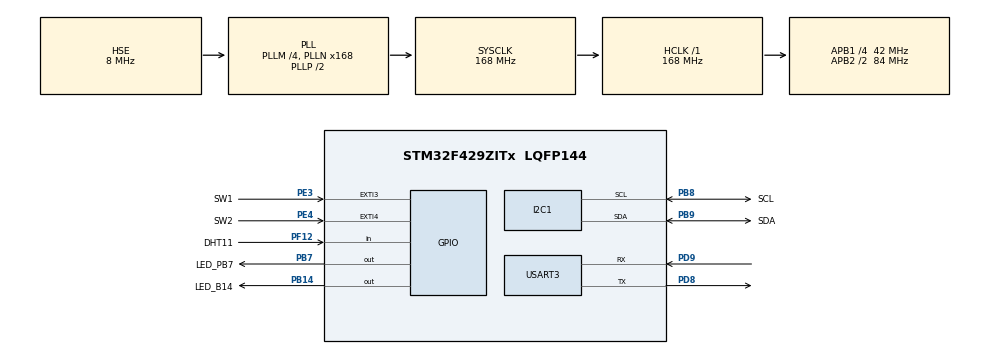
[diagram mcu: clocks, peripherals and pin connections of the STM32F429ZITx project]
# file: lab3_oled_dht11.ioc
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FREERTOS.Tasks01=defaultTask,24,128,StartDefaultTask,Default,NULL,Dynamic,NULL,NULL
I2C1.I2C_Mode=I2C_Fast
Mcu.Family=STM32F4
Mcu.Name=STM32F429ZITx
Mcu.Package=LQFP144
NVIC.EXTI3_IRQn=true\:5\:0\:false\:false\:true\:true\:true\:true\:true
NVIC.EXTI4_IRQn=true\:5\:0\:false\:false\:true\:true\:true\:true\:true
NVIC.PriorityGroup=NVIC_PRIORITYGROUP_4
NVIC.TIM1_UP_TIM10_IRQn=true\:15\:0\:false\:false\:true\:false\:false\:true\:true
NVIC.TimeBase=TIM1_UP_TIM10_IRQn
NVIC.TimeBaseIP=TIM1
PA13.Mode=Serial_Wire
PA13.Signal=SYS_JTMS-SWDIO
PA14.Mode=Serial_Wire
PA14.Signal=SYS_JTCK-SWCLK
PB14.GPIO_Label=LED_B14
PB14.Signal=GPIO_Output
PB7.GPIO_Label=LED_PB7
PB7.Signal=GPIO_Output
PB8.GPIO_Label=SCL
PB8.Mode=I2C
PB8.Signal=I2C1_SCL
PB9.GPIO_Label=SDA
PB9.Mode=I2C
PB9.Signal=I2C1_SDA
PD8.Mode=Asynchronous
PD8.Signal=USART3_TX
PD9.Mode=Asynchronous
PD9.Signal=USART3_RX
PE3.GPIO_Label=SW1
PE3.Signal=GPXTI3
PE4.GPIO_Label=SW2
PE4.Signal=GPXTI4
PF12.GPIO_Label=DHT11
PF12.Signal=GPIO_Input
PH0/OSC_IN.Mode=HSE-External-Oscillator
PH0/OSC_IN.Signal=RCC_OSC_IN
PH1/OSC_OUT.Mode=HSE-External-Oscillator
PH1/OSC_OUT.Signal=RCC_OSC_OUT
ProjectManager.HeapSize=0x200
ProjectManager.StackSize=0x400
ProjectManager.TargetToolchain=MDK-ARM V5.32
RCC.48MHZClocksFreq_Value=48000000
RCC.AHBFreq_Value=168000000
RCC.APB1CLKDivider=RCC_HCLK_DIV4
RCC.APB1Freq_Value=42000000
RCC.APB1TimFreq_Value=84000000
RCC.APB2CLKDivider=RCC_HCLK_DIV2
RCC.APB2Freq_Value=84000000
RCC.APB2TimCLKDivider=2
RCC.APB2TimFreq_Value=168000000
RCC.CortexFreq_Value=168000000
RCC.HCLKFreq_Value=168000000
RCC.HSE_VALUE=8000000
RCC.HSI_VALUE=16000000
RCC.LSE_VALUE=32768
RCC.PLLM=4
RCC.PLLMUL=RCC_PLL_MUL9
RCC.PLLN=168
RCC.PLLQ=7
RCC.PLLSourceVirtual=RCC_PLLSOURCE_HSE
RCC.PRESCALERUSB=RCC_USBCLKSOURCE_PLL_DIV1_5
RCC.SYSCLKFreq_VALUE=168000000
RCC.SYSCLKSource=RCC_SYSCLKSOURCE_PLLCLK
RCC.SYSCLKSourceVirtual=RCC_SYSCLKSOURCE_PLLCLK
RCC.USBFreq_Value=48000000
RCC.VCOOutputFreq_Value=336000000
TIM2.Prescaler=83
USART3.VirtualMode=VM_ASYNC
VP_FREERTOS_VS_CMSIS_V2.Mode=CMSIS_V2
VP_SYS_VS_tim1.Mode=TIM1
VP_TIM2_VS_ClockSourceINT.Mode=Internal
board=NUCLEO-F429ZI

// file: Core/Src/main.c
/* USER CODE BEGIN Header */
/**
  ******************************************************************************
  * @file           : main.c
  * @brief          : Main program body
  ******************************************************************************
  * @attention
  *
  * Copyright (c) 2024 STMicroelectronics.
  * All rights reserved.
  *
  * This software is licensed under terms that can be found in the LICENSE file
  * in the root directory of this software component.
  * If no LICENSE file comes with this software, it is provided AS-IS.
  *
  ******************************************************************************
  */
/* USER CODE END Header */
#include "main.h"
#include "i2c.h"
#include "tim.h"
#include "usart.h"
#include "gpio.h"

/* USER CODE BEGIN Includes */
#include "FreeRTOS.h"
#include "queue.h"
#include "task.h"
#include "oled.h"
#include "u8g2.h"
#include "dht11.h"
#include "stdio.h"
/* USER CODE END Includes */

/* USER CODE BEGIN PV */
QueueHandle_t queueDHT11;
QueueHandle_t queueSwitch;

TaskHandle_t handleDHT11;
TaskHandle_t handleOLED;

u8g2_t u8g2;

struct dht11{
	float Temp;
	float Humi;
};

struct dht11 dht11DATA;
/* USER CODE END PV */

void SystemClock_Config(void);

/* USER CODE BEGIN 0 */
/**********************
receive data from queue
success -> pdPASS(1) -> update OLED
fail -> pdFAIL(0) -> taskYIELD();
**********************/
void taskOLED(void *pvParm){
	u8g2Init(&u8g2);
	u8g2_ClearBuffer(&u8g2);
	u8g2_ClearDisplay(&u8g2);
	u8g2_SetFont(&u8g2, u8g2_font_samim_16_t_all);
	uint8_t displayMode = 9;
	uint8_t stuID[9] = "B10913154";
	char displayTemp[20];
	char displayHumi[20];
	char str[10];
	int progress = 0 ;

	while(1){
		xQueueReceive(queueSwitch, &displayMode, NULL);

		BaseType_t dht11Receive = xQueueReceive(queueDHT11, &dht11DATA, NULL);
		switch(displayMode){
			case 0:{
				u8g2_ClearBuffer(&u8g2);
				u8g2_DrawBox(&u8g2, 110, 18, 12, 12);
				for(int i= 0;i<10;i++)
				{

				snprintf(str, i, "%s", stuID);
				}
				u8g2_DrawStr(&u8g2, 18, 30, str);
				u8g2_DrawLine(&u8g2, 18, 35, 103, 35);
				u8g2_DrawBox(&u8g2, 110, 18, 12, 12);
				u8g2_SendBuffer(&u8g2);
				break;
			}
			case 1 :{

				if(dht11Receive == pdPASS){
					snprintf(displayTemp, sizeof(displayTemp), "Temp: %.1f C", dht11DATA.Temp);
					snprintf(displayHumi, sizeof(displayHumi), "Humi: %.1f %%", dht11DATA.Humi);
					u8g2_ClearBuffer(&u8g2);
					u8g2_DrawStr(&u8g2, 0, 20, displayTemp);
					u8g2_DrawStr(&u8g2, 0, 40, displayHumi);
					u8g2_SendBuffer(&u8g2);
					if(dht11DATA.Humi>=60){
						HAL_GPIO_WritePin(LED_PB7_GPIO_Port, LED_PB7_Pin, 1);
					}
					else{
						HAL_GPIO_WritePin(LED_PB7_GPIO_Port, LED_PB7_Pin, 0);
					}
				}else{
					taskYIELD();
				}
				break;
			}
			default:{
				u8g2_ClearBuffer(&u8g2);
//				u8g2_DrawStr(&u8g2, 40, 28, "finish");
//				u8g2_DrawBox(&u8g2,0, 30 ,128, 15);
				if(progress < 128){
				progress = progress +4;
				u8g2_DrawStr(&u8g2, 30, 20, "loadig...");
				u8g2_DrawBox(&u8g2,0, 30 ,128, 15);
				}
				else{
				u8g2_DrawStr(&u8g2, 40, 28, "finish");
				u8g2_DrawBox(&u8g2,0, 30 ,128, 15);
				}
				u8g2_SendBuffer(&u8g2);
				break;
			}
		}
		vTaskDelay(100);
	}
}

/***************
return from DHT11GetData(&temp, &humi);
success -> 0
fail -> -1

run every 3s
***************/
void taskDHT11(void *pvParm){
	while(1){

		HAL_GPIO_WritePin(LED_B14_GPIO_Port, LED_B14_Pin, 1);
		if(DHT11GetData(&dht11DATA.Humi, &dht11DATA.Temp) == 0){
			xQueueSend(queueDHT11, &dht11DATA, NULL);
			printf("Temp:%.1f C\r\n", dht11DATA.Temp);
			printf("Humi:%.1f %%\r\n", dht11DATA.Humi);
		}

		HAL_GPIO_WritePin(LED_B14_GPIO_Port, LED_B14_Pin, 0);
		vTaskDelay(3000);
	}
}
/* USER CODE END 0 */

int main(void)
{

  /* MCU Configuration--------------------------------------------------------*/

  /* Reset of all peripherals, Initializes the Flash interface and the Systick. */
  HAL_Init();

  /* Configure the system clock */
  SystemClock_Config();

  /* Initialize all configured peripherals */
  MX_GPIO_Init();
  MX_TIM2_Init();
  MX_USART3_UART_Init();
  MX_I2C1_Init();
  /* USER CODE BEGIN 2 */
	queueDHT11 = xQueueCreate(3, sizeof(dht11DATA));
	/***********************
	memory allocate
	usStackDepth -> const uint16_t
	1word = 2bytes
	taskOLED -> 256 * 2 = 512 bytes = 0.5 kB
	taskDHT11 -> 128 * 2 = 256 bytes = 0.25 kB
	***********************/
	xTaskCreate(taskOLED, "OLED", 256, NULL, 1, &handleOLED);
	xTaskCreate(taskDHT11, "DHT11", 128, NULL, 2, &handleDHT11);
	printf("StartScheduler \r\n");
	vTaskStartScheduler();
  /* USER CODE END 2 */

  /* We should never get here as control is now taken by the scheduler */
  /* Infinite loop */
  while (1)
  {

  }
}

void SystemClock_Config(void)
{
  RCC_OscInitTypeDef RCC_OscInitStruct = {0};
  RCC_ClkInitTypeDef RCC_ClkInitStruct = {0};

  /** Configure the main internal regulator output voltage
  */
  __HAL_RCC_PWR_CLK_ENABLE();
  __HAL_PWR_VOLTAGESCALING_CONFIG(PWR_REGULATOR_VOLTAGE_SCALE1);

  /** Initializes the RCC Oscillators according to the specified parameters
  * in the RCC_OscInitTypeDef structure.
  */
  RCC_OscInitStruct.OscillatorType = RCC_OSCILLATORTYPE_HSE;
  RCC_OscInitStruct.HSEState = RCC_HSE_ON;
  RCC_OscInitStruct.PLL.PLLState = RCC_PLL_ON;
  RCC_OscInitStruct.PLL.PLLSource = RCC_PLLSOURCE_HSE;
  RCC_OscInitStruct.PLL.PLLM = 4;
  RCC_OscInitStruct.PLL.PLLN = 168;
  RCC_OscInitStruct.PLL.PLLP = RCC_PLLP_DIV2;
  RCC_OscInitStruct.PLL.PLLQ = 7;
  if (HAL_RCC_OscConfig(&RCC_OscInitStruct) != HAL_OK)
  {
    Error_Handler();
  }

  /** Initializes the CPU, AHB and APB buses clocks
  */
  RCC_ClkInitStruct.ClockType = RCC_CLOCKTYPE_HCLK|RCC_CLOCKTYPE_SYSCLK
                              |RCC_CLOCKTYPE_PCLK1|RCC_CLOCKTYPE_PCLK2;
  RCC_ClkInitStruct.SYSCLKSource = RCC_SYSCLKSOURCE_PLLCLK;
  RCC_ClkInitStruct.AHBCLKDivider = RCC_SYSCLK_DIV1;
  RCC_ClkInitStruct.APB1CLKDivider = RCC_HCLK_DIV4;
  RCC_ClkInitStruct.APB2CLKDivider = RCC_HCLK_DIV2;

  if (HAL_RCC_ClockConfig(&RCC_ClkInitStruct, FLASH_LATENCY_5) != HAL_OK)
  {
    Error_Handler();
  }
}

void HAL_TIM_PeriodElapsedCallback(TIM_HandleTypeDef *htim)
{
  if (htim->Instance == TIM1) {
    HAL_IncTick();
  }
}

void Error_Handler(void)
{
  __disable_irq();
  while (1)
  {
  }
}
